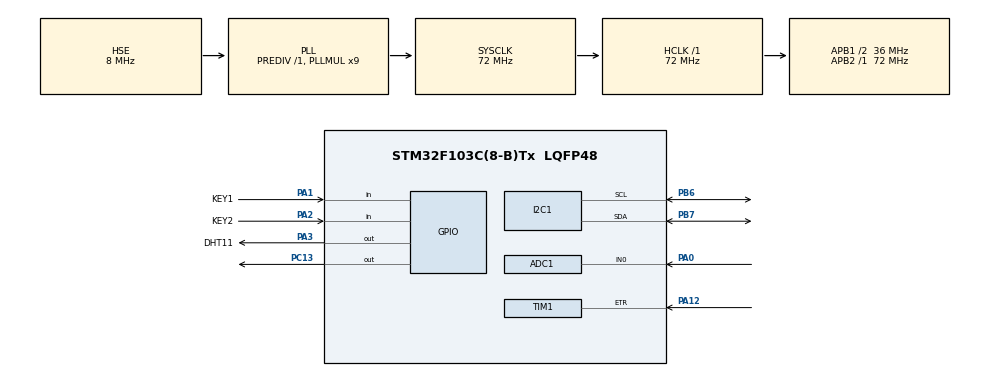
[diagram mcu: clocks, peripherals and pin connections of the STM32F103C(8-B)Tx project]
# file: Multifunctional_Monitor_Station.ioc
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ADC1.Channel-0\#ChannelRegularConversion=ADC_CHANNEL_0
ADC1.NbrOfConversion=1
ADC1.NbrOfConversionFlag=1
ADC1.Rank-0\#ChannelRegularConversion=1
ADC1.SamplingTime-0\#ChannelRegularConversion=ADC_SAMPLETIME_13CYCLES_5
ADC1.master=1
I2C1.I2C_Mode=I2C_Fast
Mcu.Family=STM32F1
Mcu.Name=STM32F103C(8-B)Tx
Mcu.Package=LQFP48
NVIC.PriorityGroup=NVIC_PRIORITYGROUP_4
PA0-WKUP.Signal=ADCx_IN0
PA1.GPIO_Label=KEY1
PA1.GPIO_PuPd=GPIO_PULLUP
PA1.Signal=GPIO_Input
PA12.Signal=S_TIM1_ETR
PA13.Mode=Serial_Wire
PA13.Signal=SYS_JTMS-SWDIO
PA14.Mode=Serial_Wire
PA14.Signal=SYS_JTCK-SWCLK
PA2.GPIO_Label=KEY2
PA2.GPIO_PuPd=GPIO_PULLUP
PA2.Signal=GPIO_Input
PA3.GPIO_Label=DHT11
PA3.GPIO_ModeDefaultOutputPP=GPIO_MODE_OUTPUT_OD
PA3.GPIO_PuPd=GPIO_NOPULL
PA3.PinState=GPIO_PIN_SET
PA3.Signal=GPIO_Output
PB6.Mode=I2C
PB6.Signal=I2C1_SCL
PB7.Mode=I2C
PB7.Signal=I2C1_SDA
PC13-TAMPER-RTC.PinState=GPIO_PIN_SET
PC13-TAMPER-RTC.Signal=GPIO_Output
PD0-OSC_IN.Mode=HSE-External-Oscillator
PD0-OSC_IN.Signal=RCC_OSC_IN
PD1-OSC_OUT.Mode=HSE-External-Oscillator
PD1-OSC_OUT.Signal=RCC_OSC_OUT
ProjectManager.HeapSize=0x200
ProjectManager.StackSize=0x400
ProjectManager.TargetToolchain=CMake
RCC.ADCPresc=RCC_ADCPCLK2_DIV6
RCC.AHBFreq_Value=72000000
RCC.APB1CLKDivider=RCC_HCLK_DIV2
RCC.APB1Freq_Value=36000000
RCC.APB1TimFreq_Value=72000000
RCC.APB2Freq_Value=72000000
RCC.APB2TimFreq_Value=72000000
RCC.HCLKFreq_Value=72000000
RCC.PLLMUL=RCC_PLL_MUL9
RCC.PLLSourceVirtual=RCC_PLLSOURCE_HSE
RCC.SYSCLKFreq_VALUE=72000000
RCC.SYSCLKSource=RCC_SYSCLKSOURCE_PLLCLK
RCC.USBFreq_Value=72000000
SH.ADCx_IN0.0=ADC1_IN0,IN0
SH.S_TIM1_ETR.0=TIM1_ETR,ClockSourceETR_Mode2
TIM1.Prescaler=71
board=custom

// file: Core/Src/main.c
/* USER CODE BEGIN Header */
/**
  ******************************************************************************
  * @file           : main.c
  * @brief          : Main program body
  ******************************************************************************
  * @attention
  *
  * Copyright (c) 2026 STMicroelectronics.
  * All rights reserved.
  *
  * This software is licensed under terms that can be found in the LICENSE file
  * in the root directory of this software component.
  * If no LICENSE file comes with this software, it is provided AS-IS.
  *
  ******************************************************************************
  */
/* USER CODE END Header */
#include "main.h"
#include "adc.h"
#include "i2c.h"
#include "tim.h"
#include "gpio.h"

/* USER CODE BEGIN Includes */
#include "global.h"
/* USER CODE END Includes */

/* USER CODE BEGIN PV */
//oled
OLED_TypeDef oled;
OLED_InitTypeDef OLED_InitStruct;
//DHT11
uint8_t DHT11Rcv[4];
//light
int light_intensity = 0;
//clock
uint16_t year = 2026;
uint8_t month = 1;
uint8_t day = 1;
uint8_t hour = 0;
uint8_t minute = 0;
uint8_t second = 0;
uint32_t last_time = 0;
char time_str[16];
char date_str[16];
//flash

/* USER CODE END PV */

void SystemClock_Config(void);

/* USER CODE BEGIN 0 */
int i2c_write_bytes(uint8_t addr, const uint8_t *pdata, uint16_t size) {
  return HAL_I2C_Master_Transmit(&hi2c1, addr, pdata, size, 1000);
}
void My_OLED_Init(void) {
  OLED_InitStruct.i2c_write_cb = i2c_write_bytes;
  OLED_Init(&oled, &OLED_InitStruct);
}
void DWT_Init(void)
{
  CoreDebug->DEMCR |= CoreDebug_DEMCR_TRCENA_Msk;
  DWT->CTRL |= DWT_CTRL_CYCCNTENA_Msk;
}

/* USER CODE END 0 */

int main(void)
{

  /* MCU Configuration--------------------------------------------------------*/

  /* Reset of all peripherals, Initializes the Flash interface and the Systick. */
  HAL_Init();

  /* Configure the system clock */
  SystemClock_Config();

  /* Initialize all configured peripherals */
  MX_GPIO_Init();
  MX_ADC1_Init();
  MX_I2C1_Init();
  MX_TIM1_Init();
  /* USER CODE BEGIN 2 */
  My_OLED_Init();
  DWT_Init();
  Flash_Init();
  /* USER CODE END 2 */

  /* Infinite loop */
  /* USER CODE BEGIN WHILE */
  while (1)
  {
    Mode_Process();
    /* USER CODE END WHILE */

  }
}

void SystemClock_Config(void)
{
  RCC_OscInitTypeDef RCC_OscInitStruct = {0};
  RCC_ClkInitTypeDef RCC_ClkInitStruct = {0};
  RCC_PeriphCLKInitTypeDef PeriphClkInit = {0};

  /** Initializes the RCC Oscillators according to the specified parameters
  * in the RCC_OscInitTypeDef structure.
  */
  RCC_OscInitStruct.OscillatorType = RCC_OSCILLATORTYPE_HSE;
  RCC_OscInitStruct.HSEState = RCC_HSE_ON;
  RCC_OscInitStruct.HSEPredivValue = RCC_HSE_PREDIV_DIV1;
  RCC_OscInitStruct.HSIState = RCC_HSI_ON;
  RCC_OscInitStruct.PLL.PLLState = RCC_PLL_ON;
  RCC_OscInitStruct.PLL.PLLSource = RCC_PLLSOURCE_HSE;
  RCC_OscInitStruct.PLL.PLLMUL = RCC_PLL_MUL9;
  if (HAL_RCC_OscConfig(&RCC_OscInitStruct) != HAL_OK)
  {
    Error_Handler();
  }

  /** Initializes the CPU, AHB and APB buses clocks
  */
  RCC_ClkInitStruct.ClockType = RCC_CLOCKTYPE_HCLK|RCC_CLOCKTYPE_SYSCLK
                              |RCC_CLOCKTYPE_PCLK1|RCC_CLOCKTYPE_PCLK2;
  RCC_ClkInitStruct.SYSCLKSource = RCC_SYSCLKSOURCE_PLLCLK;
  RCC_ClkInitStruct.AHBCLKDivider = RCC_SYSCLK_DIV1;
  RCC_ClkInitStruct.APB1CLKDivider = RCC_HCLK_DIV2;
  RCC_ClkInitStruct.APB2CLKDivider = RCC_HCLK_DIV1;

  if (HAL_RCC_ClockConfig(&RCC_ClkInitStruct, FLASH_LATENCY_2) != HAL_OK)
  {
    Error_Handler();
  }
  PeriphClkInit.PeriphClockSelection = RCC_PERIPHCLK_ADC;
  PeriphClkInit.AdcClockSelection = RCC_ADCPCLK2_DIV6;
  if (HAL_RCCEx_PeriphCLKConfig(&PeriphClkInit) != HAL_OK)
  {
    Error_Handler();
  }
}

void Error_Handler(void)
{
  __disable_irq();
  while (1)
  {
  }
}
